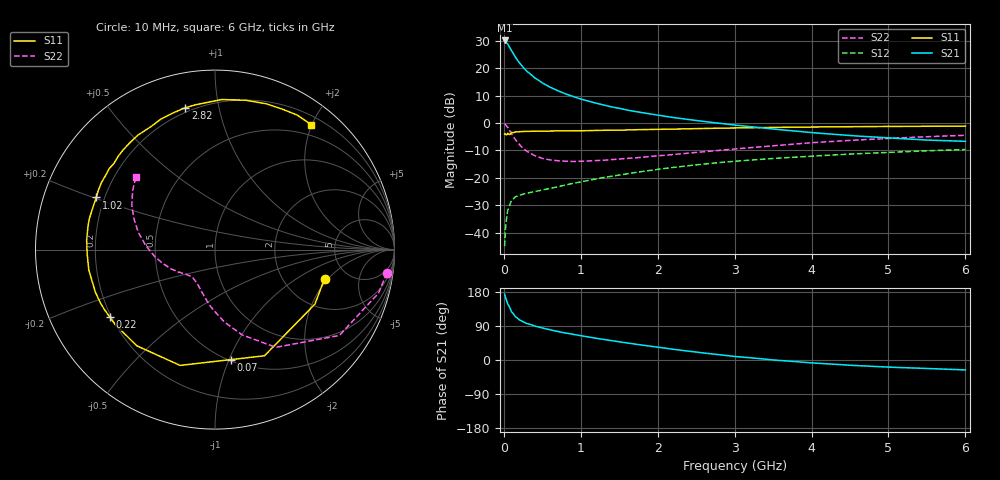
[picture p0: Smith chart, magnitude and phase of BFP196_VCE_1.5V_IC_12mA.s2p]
! Infineon Technologies  Discrete & RF Semiconductors
! BFP196
! VCE = 1.5 V,  IC =  12mA
! Common Emitter S-Parameters:  Jan 2016
# GHz  S  MA  R  50
!  f  S11  S21  S12  S22
! GHz  MAG  ANG  MAG  ANG  MAG  ANG  MAG  ANG
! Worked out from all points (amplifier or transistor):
!   210 points, 10 MHz to 6 GHz, reference 50 ohm
!   highest |S21| = 30.1 dB at 10 MHz (marker M1)
!   |S21| within 3 dB of that: start of sweep to 84.43 MHz
!   unconditionally stable (mu >= 1): 809.2 MHz to 3.467 GHz; 3.585 GHz to 3.915 GHz
!   at 185 MHz: K = 0.35, MSG = 24.6 dB, |S12| = -26.5 dB
!   at 1.52 GHz: K = 1.15, MAG = 9.7 dB, |S12| = -18.9 dB
!   at 6 GHz: K = 0.98, MSG = 1.5 dB, |S12| = -9.6 dB
!   S11 on the Smith chart (normalised r, x): 10 MHz: 3.37, -1.82; 70 MHz: 0.51, -1.01; 220 MHz: 0.19, -0.28; 1.02 GHz: 0.17, +0.20; 2.82 GHz: 0.18, +0.80; 6 GHz: 0.33, +1.99
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0.01  0.6313 -14.9  32.02 173.8  0.0057 83.5  0.9664 -7.8
0.02  0.6341 -28.6  30.77 166.0  0.0112 79.5  0.9429 -14.9
0.05  0.6527 -65.0  27.62 148.2  0.0254 62.8  0.842 -34.6
0.07  0.6192 -81.9  24.58 141.1  0.0305 54.9  0.7476 -42.5
0.1  0.6739 -106.8  20.95 127.1  0.0389 47.1  0.6415 -58.1
0.15  0.6909 -129.2  15.85 114.4  0.0452 38.6  0.4984 -72.4
0.2  0.6956 -143.3  12.65 106.3  0.048 35.3  0.407 -82.6
0.22  0.6964 -147.4  11.71 104.2  0.049 34.7  0.381 -85.4
0.26  0.7041 -154.9  10.02 99.7  0.051 33.9  0.3363 -91.6
0.3  0.7074 -160.4  8.756 96.2  0.0527 34.0  0.3062 -96.3
0.4  0.7122 -170.8  6.705 89.7  0.0563 34.5  0.255 -105.5
0.5  0.7126 -177.9  5.384 84.3  0.0601 36.3  0.2271 -112.5
0.6  0.7171 175.7  4.513 79.5  0.0644 38.4  0.2131 -118.2
0.7  0.7194 170.3  3.889 75.0  0.0688 40.3  0.2055 -122.5
1.02  0.7227 156.3  2.692 63.4  0.0855 43.9  0.2012 -132.1
1.4  0.7423 142.7  1.971 51.2  0.1066 45.1  0.2151 -140.4
2.02  0.7686 123.5  1.377 33.3  0.1444 42.8  0.2536 -153.1
2.82  0.8074 101.8  0.985 13.5  0.1914 35.7  0.3202 -169.9
3.1  0.8165 95.6  0.889 7.7  0.206 32.4  0.3462 -175.5
4.1  0.8507 76.7  0.653 -8.8  0.2537 21.3  0.4465 165.5
5.1  0.8692 63.1  0.527 -19.6  0.296 10.2  0.5329 150.2
6  0.8783 52.4  0.464 -26.2  0.3299 -0.3  0.5985 137.4
